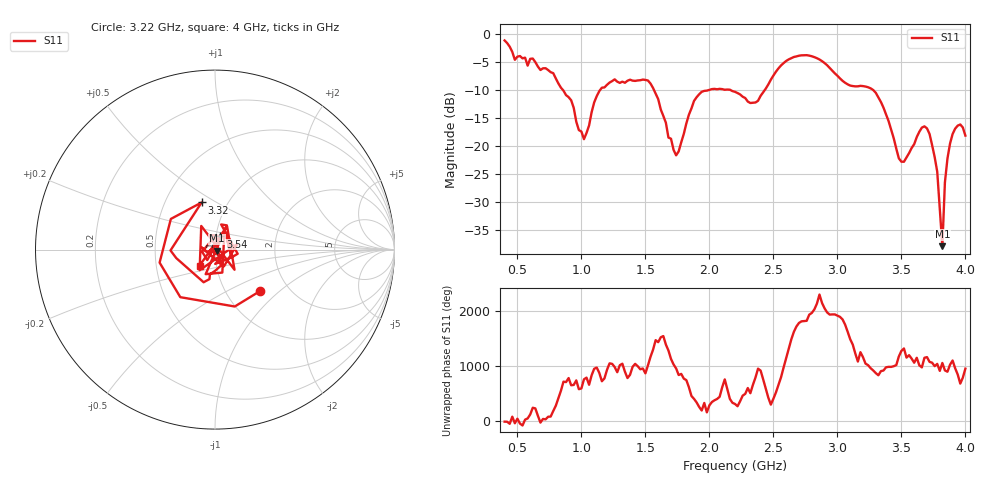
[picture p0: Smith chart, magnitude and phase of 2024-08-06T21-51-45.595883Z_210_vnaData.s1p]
!Created with skrf (http://scikit-rf.org).
# Hz S RI R 50.0
!freq ReS11 ImS11
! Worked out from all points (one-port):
!   181 points, 400 MHz to 4 GHz, reference 50 ohm
!   lowest |S11| = -37.9 dB at 3.82 GHz (marker M1), VSWR 1.03, Z = 51.1 - j0.661 ohm
!   |S11| at or under -10 dB: 856.6 MHz to 1.145 GHz (288.7 MHz wide, 28.8 % of centre); 1.567 GHz to 1.993 GHz (425.6 MHz wide, 23.9 % of centre); 3.281 GHz to end of sweep (the widest 3 of 4)
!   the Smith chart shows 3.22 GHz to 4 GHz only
!   S11 on the Smith chart (normalised r, x): 3.22 GHz: 1.43, -0.75; 3.32 GHz: 0.76, +0.43; 3.54 GHz: 1.05, +0.15; 4 GHz: 0.83, -0.15
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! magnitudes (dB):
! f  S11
! 400 MHz  -1.1
! 480 MHz  -4.6
! 620 MHz  -4.4
! 860 MHz  -10.1
! 1.02 GHz  -18.7
! 1.14 GHz  -10.2
! 1.3 GHz  -8.7
! 1.52 GHz  -8.3
! 1.76 GHz  -20.9
! 1.92 GHz  -10.7
! 2.2 GHz  -10.3
! 2.36 GHz  -12.2
! 2.66 GHz  -4.1
! 2.86 GHz  -4.5
! 3.1 GHz  -9.2
! 3.22 GHz  -9.4
! 3.32 GHz  -11.3
! 3.48 GHz  -22.2
! 3.54 GHz  -22.0
! 3.56 GHz  -21.2
! 3.66 GHz  -16.7
! 3.72 GHz  -17.8
! 3.78 GHz  -24.6
! 3.82 GHz  -37.9
! 3.84 GHz  -26.5
! 3.88 GHz  -19.5
! 3.94 GHz  -16.3
! 4 GHz  -18.1
